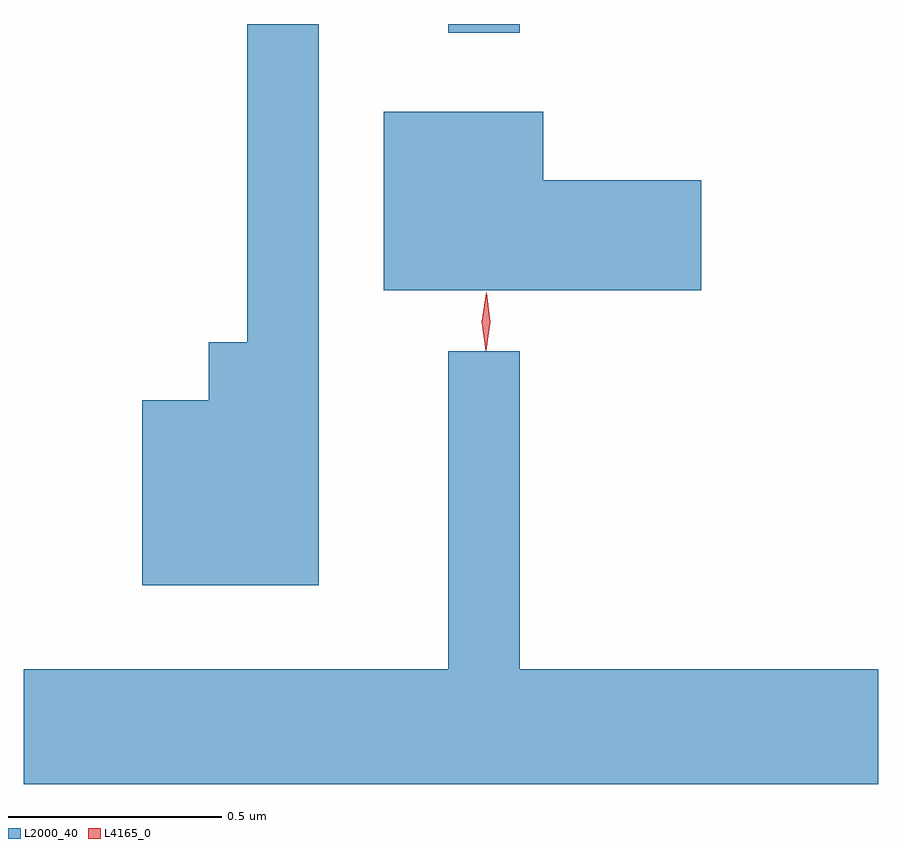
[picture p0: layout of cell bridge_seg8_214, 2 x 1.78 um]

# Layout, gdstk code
import gdstk
lib = gdstk.Library(unit=1e-6, precision=1e-09)
def R(c, l, rs):  # rectangles x0, y0, x1, y1
    for r in rs: c.add(gdstk.rectangle(r[:2], r[2:], *l))
def P(c, l, *ps):  # polygons
    for p in ps: c.add(gdstk.Polygon(p, *l))
L2000_40 = (2000, 40)
L4165_0 = (4165, 0)

bridge_seg8_214 = lib.new_cell('bridge_seg8_214')
R(bridge_seg8_214, L2000_40, [(1221.301,1898.113,1221.469,1898.134)])
P(bridge_seg8_214, L2000_40, [(1220.999,1898.134),(1220.831,1898.134),(1220.831,1897.389),(1220.741,1897.389),(1220.741,1897.254),(1220.586,1897.254),(1220.586,1896.821),(1220.999,1896.821)],
  [(1221.894,1897.769),(1221.524,1897.769),(1221.524,1897.929),(1221.151,1897.929),(1221.151,1897.511),(1221.894,1897.511)],
  [(1222.308,1896.624),(1221.469,1896.624),(1221.469,1897.368),(1221.301,1897.368),(1221.301,1896.624),(1220.308,1896.624),(1220.308,1896.356),(1222.308,1896.356)])
P(bridge_seg8_214, L4165_0, [(1221.389,1897.373),(1221.389,1897.374),(1221.38,1897.436),(1221.391,1897.499),(1221.391,1897.5),(1221.392,1897.499),(1221.4,1897.436),(1221.39,1897.374)],
  [(1221.389,1897.37),(1221.38,1897.438),(1221.391,1897.505),(1221.391,1897.506),(1221.392,1897.505),(1221.4,1897.438),(1221.39,1897.37),(1221.39,1897.37)])

lib.write_gds('bridge_seg8_214.gds')
